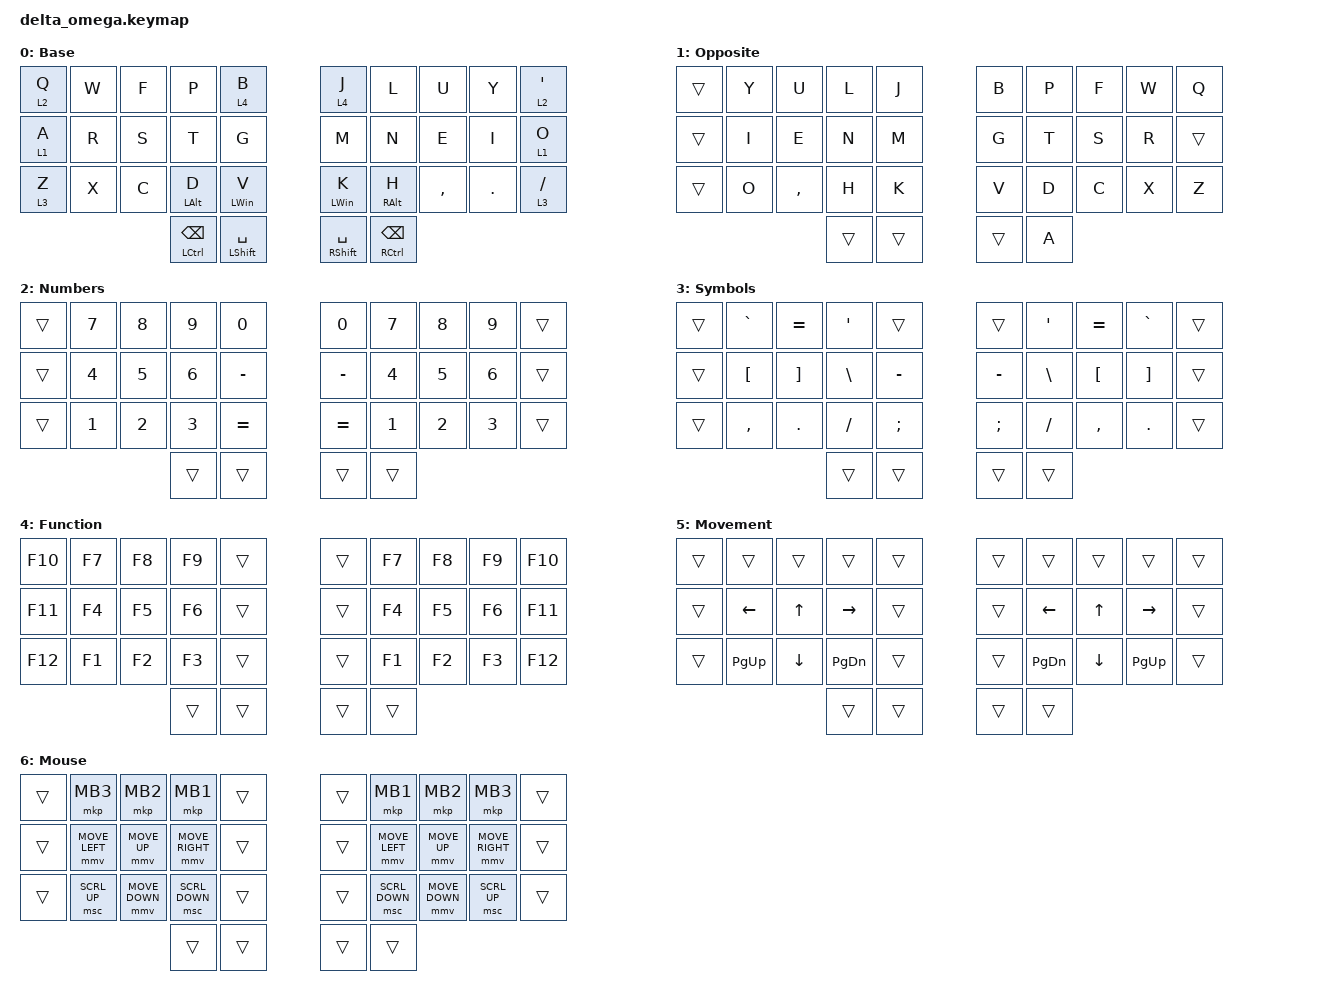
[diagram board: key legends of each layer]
#include <behaviors.dtsi>
#include <dt-bindings/zmk/keys.h>
#include <dt-bindings/zmk/pointing.h>

&mt {
    tapping-term-ms = <175>;
    flavor = "tap-preferred";
};

/ {
    combos {
        compatible = "zmk,combos";

        Movement_L {
            bindings = <&mo 5>;
            key-positions = <10 31>;
        };

        Mouse_L {
            bindings = <&mo 6>;
            key-positions = <10 30>;
        };

        Enter_L {
            bindings = <&kp ENTER>;
            key-positions = <23 22 21>;
        };

        Tab_L {
            bindings = <&kp TAB>;
            key-positions = <11 12 13>;
        };

        Escape_L {
            bindings = <&kp ESCAPE>;
            key-positions = <20 21 22>;
        };

        Delete_L {
            bindings = <&kp DELETE>;
            key-positions = <10 11 12>;
        };

        Movement_R {
            bindings = <&mo 5>;
            key-positions = <32 19>;
        };

        Mouse_R {
            bindings = <&mo 6>;
            key-positions = <33 19>;
        };

        Enter_R {
            bindings = <&kp ENTER>;
            key-positions = <26 27 28>;
        };

        Tab_R {
            bindings = <&kp TAB>;
            key-positions = <16 17 18>;
        };

        Escape_R {
            bindings = <&kp ESCAPE>;
            key-positions = <27 28 29>;
        };

        Delete_R {
            bindings = <&kp DELETE>;
            key-positions = <17 18 19>;
        };

        G_L {
            bindings = <&kp LEFT_WIN>;
            key-positions = <10 20>;
        };

        G_R {
            bindings = <&kp LEFT_WIN>;
            key-positions = <29 19>;
        };

        A_L {
            bindings = <&kp LEFT_ALT>;
            key-positions = <11 21>;
        };

        A_R {
            bindings = <&kp RIGHT_ALT>;
            key-positions = <18 28>;
        };

        C_L {
            bindings = <&kp LCTRL>;
            key-positions = <12 22>;
        };

        C_R {
            bindings = <&kp LCTRL>;
            key-positions = <17 27>;
        };

        S_L {
            bindings = <&kp LEFT_SHIFT>;
            key-positions = <13 23>;
        };

        S_R {
            bindings = <&kp RIGHT_SHIFT>;
            key-positions = <16 26>;
        };
    };

    keymap {
        compatible = "zmk,keymap";

        Base {
            bindings = <
&lt 2 Q  &kp W  &kp F  &kp P                &lt 4 B               &lt 4 J                &kp L                &kp U      &kp Y    &lt 2 SQT
&lt 1 A  &kp R  &kp S  &kp T                &kp G                 &kp M                  &kp N                &kp E      &kp I    &lt 1 O
&lt 3 Z  &kp X  &kp C  &mt LEFT_ALT D       &mt LEFT_WIN V        &mt LEFT_WIN K         &mt RIGHT_ALT H      &kp COMMA  &kp DOT  &lt 3 SLASH
                       &mt LCTRL BACKSPACE  &mt LEFT_SHIFT SPACE  &mt RIGHT_SHIFT SPACE  &mt RCTRL BACKSPACE
            >;
        };

        Opposite {
            bindings = <
&trans  &kp Y  &kp U      &kp L   &kp J   &kp B   &kp P  &kp F  &kp W  &kp Q
&trans  &kp I  &kp E      &kp N   &kp M   &kp G   &kp T  &kp S  &kp R  &trans
&trans  &kp O  &kp COMMA  &kp H   &kp K   &kp V   &kp D  &kp C  &kp X  &kp Z
                          &trans  &trans  &trans  &kp A
            >;
        };

        Numbers {
            bindings = <
&trans  &kp NUMBER_7  &kp NUMBER_8  &kp N9        &kp NUMBER_0  &kp N0     &kp N7        &kp N8        &kp N9        &trans
&trans  &kp NUMBER_4  &kp NUMBER_5  &kp NUMBER_6  &kp MINUS     &kp MINUS  &kp NUMBER_4  &kp N5        &kp NUMBER_6  &trans
&trans  &kp NUMBER_1  &kp NUMBER_2  &kp NUMBER_3  &kp EQUAL     &kp EQUAL  &kp NUMBER_1  &kp NUMBER_2  &kp NUMBER_3  &trans
                                    &trans        &trans        &trans     &trans
            >;
        };

        Symbols {
            bindings = <
&trans  &kp GRAVE         &kp EQUAL          &kp SINGLE_QUOTE  &trans         &trans         &kp SQT        &kp EQUAL         &kp GRAVE          &trans
&trans  &kp LEFT_BRACKET  &kp RIGHT_BRACKET  &kp BACKSLASH     &kp MINUS      &kp MINUS      &kp BACKSLASH  &kp LEFT_BRACKET  &kp RIGHT_BRACKET  &trans
&trans  &kp COMMA         &kp PERIOD         &kp SLASH         &kp SEMICOLON  &kp SEMICOLON  &kp SLASH      &kp COMMA         &kp PERIOD         &trans
                                             &trans            &trans         &trans         &trans
            >;
        };

        Function {
            bindings = <
&kp F10  &kp F7  &kp F8  &kp F9  &trans  &trans  &kp F7  &kp F8  &kp F9  &kp F10
&kp F11  &kp F4  &kp F5  &kp F6  &trans  &trans  &kp F4  &kp F5  &kp F6  &kp F11
&kp F12  &kp F1  &kp F2  &kp F3  &trans  &trans  &kp F1  &kp F2  &kp F3  &kp F12
                         &trans  &trans  &trans  &trans
            >;
        };

        Movement {
            bindings = <
&trans  &trans     &trans    &trans     &trans  &trans  &trans     &trans    &trans     &trans
&trans  &kp LEFT   &kp UP    &kp RIGHT  &trans  &trans  &kp LEFT   &kp UP    &kp RIGHT  &trans
&trans  &kp PG_UP  &kp DOWN  &kp PG_DN  &trans  &trans  &kp PG_DN  &kp DOWN  &kp PG_UP  &trans
                             &trans     &trans  &trans  &trans
            >;
        };

        Mouse {
            bindings = <
&trans  &mkp MB3        &mkp MB2        &mkp MB1         &trans  &trans  &mkp MB1        &mkp MB2        &mkp MB3         &trans
&trans  &mmv MOVE_LEFT  &mmv MOVE_UP    &mmv MOVE_RIGHT  &trans  &trans  &mmv MOVE_LEFT  &mmv MOVE_UP    &mmv MOVE_RIGHT  &trans
&trans  &msc SCRL_UP    &mmv MOVE_DOWN  &msc SCRL_DOWN   &trans  &trans  &msc SCRL_DOWN  &mmv MOVE_DOWN  &msc SCRL_UP     &trans
                                        &trans           &trans  &trans  &trans
            >;
        };
    };

    conditional_layers { compatible = "zmk,conditional-layers"; };
};
